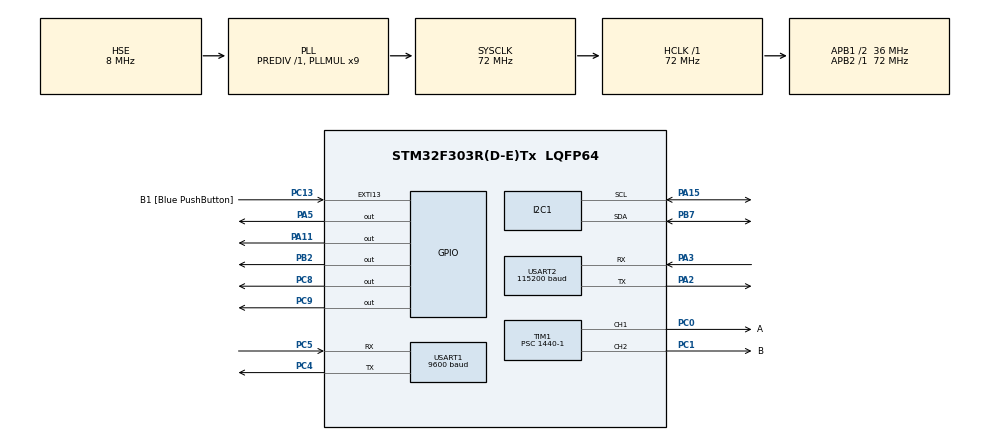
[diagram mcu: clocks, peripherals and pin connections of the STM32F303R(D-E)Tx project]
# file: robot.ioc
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I2C1.Timing=0x00201D2B
Mcu.Family=STM32F3
Mcu.Name=STM32F303R(D-E)Tx
Mcu.Package=LQFP64
NVIC.PriorityGroup=NVIC_PRIORITYGROUP_0
NVIC.TIM3_IRQn=true\:0\:0\:false\:false\:true\:true\:true\:true
NVIC.USART1_IRQn=true\:0\:0\:false\:false\:true\:true\:true\:true
PA11.Signal=GPIO_Output
PA13.GPIO_Label=TMS
PA13.Mode=Serial_Wire
PA13.Signal=SYS_JTMS-SWDIO
PA14.GPIO_Label=TCK
PA14.Mode=Serial_Wire
PA14.Signal=SYS_JTCK-SWCLK
PA15.Mode=I2C
PA15.Signal=I2C1_SCL
PA2.Mode=Asynchronous
PA2.Signal=USART2_TX
PA3.Mode=Asynchronous
PA3.Signal=USART2_RX
PA5.Signal=GPIO_Output
PB2.Signal=GPIO_Output
PB3.GPIO_Label=SWO
PB3.Signal=SYS_JTDO-TRACESWO
PB7.Mode=I2C
PB7.Signal=I2C1_SDA
PC0.GPIO_Label=A
PC0.Signal=S_TIM1_CH1
PC1.GPIO_Label=B
PC1.Signal=S_TIM1_CH2
PC13.GPIO_Label=B1 [Blue PushButton]
PC13.GPIO_ModeDefaultEXTI=GPIO_MODE_IT_FALLING
PC13.Signal=GPXTI13
PC14-OSC32_IN.Signal=RCC_OSC32_IN
PC15-OSC32_OUT.Signal=RCC_OSC32_OUT
PC4.Mode=Asynchronous
PC4.Signal=USART1_TX
PC5.Mode=Asynchronous
PC5.Signal=USART1_RX
PC8.Signal=GPIO_Output
PC9.Signal=GPIO_Output
PF0-OSC_IN.Mode=HSE-External-Oscillator
PF0-OSC_IN.Signal=RCC_OSC_IN
PF1-OSC_OUT.Mode=HSE-External-Oscillator
PF1-OSC_OUT.Signal=RCC_OSC_OUT
ProjectManager.HeapSize=0x200
ProjectManager.StackSize=0x400
ProjectManager.TargetToolchain=STM32CubeIDE
RCC.AHBFreq_Value=72000000
RCC.APB1CLKDivider=RCC_HCLK_DIV2
RCC.APB1Freq_Value=36000000
RCC.APB1TimFreq_Value=72000000
RCC.APB2Freq_Value=72000000
RCC.APB2TimFreq_Value=72000000
RCC.CortexFreq_Value=72000000
RCC.HCLKFreq_Value=72000000
RCC.HSE_VALUE=8000000
RCC.HSI_VALUE=8000000
RCC.LSE_VALUE=32768
RCC.PLLM=8
RCC.PLLMUL=RCC_PLL_MUL9
RCC.PLLN=336
RCC.PLLP=RCC_PLLP_DIV4
RCC.PLLQ=7
RCC.PLLSourceVirtual=RCC_PLLSOURCE_HSE
RCC.RCC_PLLsource_Clock_Source_FROM_HSE=RCC_HSE_PREDIV_DIV2
RCC.SYSCLKFreq_VALUE=72000000
RCC.SYSCLKSourceVirtual=RCC_SYSCLKSOURCE_PLLCLK
RCC.USBFreq_Value=72000000
SH.S_TIM1_CH1.0=TIM1_CH1,PWM Generation1 CH1
SH.S_TIM1_CH2.0=TIM1_CH2,PWM Generation2 CH2
TIM1.Channel-PWM\ Generation1\ CH1=TIM_CHANNEL_1
TIM1.Channel-PWM\ Generation2\ CH2=TIM_CHANNEL_2
TIM1.Period=1000-1
TIM1.Prescaler=1440-1
TIM3.Period=31
TIM3.Prescaler=71
USART1.BaudRate=9600
USART1.VirtualMode-Asynchronous=VM_ASYNC
USART2.BaudRate=115200
USART2.VirtualMode-Asynchronous=VM_ASYNC
VP_TIM1_VS_ClockSourceINT.Mode=Internal
VP_TIM3_VS_ClockSourceINT.Mode=Internal
board=NUCLEO-F303RE

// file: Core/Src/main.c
/* USER CODE BEGIN Header */
/**
 ******************************************************************************
 * @file           : main.c
 * @brief          : Main program body
 ******************************************************************************
 * @attention
 *
 * Copyright (c) 2026 STMicroelectronics.
 * All rights reserved.
 *
 * This software is licensed under terms that can be found in the LICENSE file
 * in the root directory of this software component.
 * If no LICENSE file comes with this software, it is provided AS-IS.
 *
 ******************************************************************************
 */
/* USER CODE END Header */
#include "main.h"

/* USER CODE BEGIN Includes */
#include <stdbool.h>
//#include <st7735.h>
//#include <fonts.h>
//#include <GFX_FUNCTIONS.h>
#include <string.h>
#include <stdio.h>
//#include "adpcm.h"
//#include "fatcat.h"
//#include "Image.h"
//#include "ringtone1.h"
/* USER CODE END Includes */

/* USER CODE BEGIN PD */
#define BUFFER_LEN  20
#define DEFAULT_STARTUP_VAL (0x80)
#define MSG_SIZE 1

// gyroscope & accelerometer defines
#define MPU6050_ADDR 0xD0
#define SMPLRT_DIV_REG 0x19
#define GYRO_CONFIG_REG 0x1B
#define ACCEL_CONFIG_REG 0x1C
#define ACCEL_XOUT_H_REG 0x3B
#define TEMP_OUT_H_REG 0x41
#define GYRO_XOUT_H_REG 0x43
#define PWR_MGMT_1_REG 0x6B
#define WHO_AM_I_REG 0x75

/* USER CODE END PD */

I2C_HandleTypeDef hi2c1;

TIM_HandleTypeDef htim1;
TIM_HandleTypeDef htim3;

UART_HandleTypeDef huart1;
UART_HandleTypeDef huart2;

/* USER CODE BEGIN PV */

int32_t pwm_val = 0;
bool direction = 0;
uint8_t ringtone1[54334];
uint8_t accel_update = 0;
uint8_t RX_BUFFER[BUFFER_LEN];
uint8_t TX_BUFFER[BUFFER_LEN];
uint8_t rx1, rx2;
volatile uint8_t text_request, rx_index = 0;

/* USER CODE END PV */

void SystemClock_Config(void);
static void MX_GPIO_Init(void);
static void MX_USART1_UART_Init(void);
static void MX_TIM1_Init(void);
static void MX_TIM3_Init(void);
static void MX_I2C1_Init(void);
static void MX_USART2_UART_Init(void);

/* USER CODE BEGIN 0 */
uint8_t c;
double Accel_X_RAW, Accel_Y_RAW, Accel_Z_RAW, Az, Ay, Ax;
volatile int text_timeout = 100; // timeout = text_timeout * hal delay
uint16_t txData;
uint8_t stat = 0;
int txIndex;
void HAL_TIM_PeriodElapsedCallback(TIM_HandleTypeDef *htim) {
	if (htim->Instance == TIM3) {
		txData = ((uint16_t) ringtone1[txIndex + 1] << 8) | ringtone1[txIndex];
		txIndex = txIndex + 2;
		if (txIndex > 54334)
			txIndex = 0;
		//HAL_I2S_Transmit(&hi2s3, &txData, 1, 10);
	}
}

void HAL_UART_RxCpltCallback(UART_HandleTypeDef *huart) {
	if (huart->Instance == USART1) {
		text_request = 1;
		HAL_UART_Receive_IT(&huart1, &rx1, MSG_SIZE);
	}
	// uart 2 for AT mode and debugging
	/*if (huart->Instance == USART2) {
	 HAL_UART_Transmit(&huart1, &rx2, MSG_SIZE, 100);
	 HAL_UART_Receive_IT(&huart2, &rx2, MSG_SIZE);
	 }*/
}

int isUp(uint8_t *msg) {
	if (strcmp((char*) msg, "U") == 0)
		return 1;
	return 0;
}
int isDown(uint8_t *msg) {
	if (strcmp((char*) msg, "D") == 0)
		return 1;
	return 0;
}
int isLeft(uint8_t *msg) {
	if (strcmp((char*) msg, "L") == 0)
		return 1;
	return 0;
}
int isRight(uint8_t *msg) {
	if (strcmp((char*) msg, "R") == 0)
		return 1;
	return 0;
}
int stop(uint8_t *msg) {
	if (strcmp((char*) msg, "S") == 0)
		return 1;
	return 0;
}

/* source : https://controllerstech.com/how-to-interface-mpu6050-gy-521-with-stm32/ */
void MPU6050_Init(void) {
	uint8_t check;
	uint8_t Data;

	HAL_StatusTypeDef status = HAL_I2C_Mem_Read(&hi2c1, MPU6050_ADDR, 0x75, 1,
			&check, 1, 1000); // read WHO_AM_I
	switch (status) {
	case HAL_OK:
		stat = '0';
		break;
	case HAL_ERROR:
		stat = '1';
		break;
	case HAL_BUSY:
		stat = '2';
		break;
	case HAL_TIMEOUT:
		stat = '3';
		break;
	default:
		break;
	}
	HAL_UART_Transmit(&huart2, &stat, 1, 100);
	if (check == 0x68) // 0x68 will be returned by the sensor if everything goes well
			{
		// power management register 0X6B we should write all 0's to wake the sensor up
		Data = 0;
		HAL_I2C_Mem_Write(&hi2c1, MPU6050_ADDR, 0x6B, 1, &Data, 1, 1000);
		// Set DATA RATE of 1KHz by writing SMPLRT_DIV register
		Data = 0x07;
		HAL_I2C_Mem_Write(&hi2c1, MPU6050_ADDR, 0x19, 1, &Data, 1, 1000);
		// Set accelerometer configuration in ACCEL_CONFIG Register
		Data = 0x00; // XA_ST=0,YA_ST=0,ZA_ST=0, FS_SEL=0 -> <strong>±</strong> 2g
		HAL_I2C_Mem_Write(&hi2c1, MPU6050_ADDR, ACCEL_CONFIG_REG, 1, &Data, 1,
				1000);
		// Set Gyroscopic configuration in GYRO_CONFIG Register
		Data = 0x00; // XG_ST=0,YG_ST=0,ZG_ST=0, FS_SEL=0 -> <strong>±</strong> 250 ̐/s
		HAL_I2C_Mem_Write(&hi2c1, MPU6050_ADDR, GYRO_CONFIG_REG, 1, &Data, 1,
				1000);
		// 2. Activer le filtre passe-bas numérique (CONFIG)
		// Écrit 0x05 dans le registre 0x1A pour éliminer les oscillations de bruit
		Data = 0x01;
		HAL_I2C_Mem_Write(&hi2c1, MPU6050_ADDR, 0x1A, 1, &Data, 1, 1000);
	}
}

void MPU6050_Read_Accel(void) {
	uint8_t Rec_Data[6] = { 0, 0, 0, 0, 0, 0 };

	// Read 6 BYTES of data starting from ACCEL_XOUT_H (0x3B) register
	HAL_I2C_Mem_Read(&hi2c1, MPU6050_ADDR, 0x3B, 1, Rec_Data, 6, 1000);
	Accel_X_RAW = (int16_t) (Rec_Data[0] << 8 | Rec_Data[1]);
	Accel_Y_RAW = (int16_t) (Rec_Data[2] << 8 | Rec_Data[3]);
	Accel_Z_RAW = (int16_t) (Rec_Data[4] << 8 | Rec_Data[5]);
	Ax = (float) Accel_X_RAW / 16384.0;
	Ay = (float) Accel_Y_RAW / 16384.0;
	Az = (float) Accel_Z_RAW / 16384.0;
}

/* USER CODE END 0 */

int main(void)
{

  /* MCU Configuration--------------------------------------------------------*/

  /* Reset of all peripherals, Initializes the Flash interface and the Systick. */
  HAL_Init();

  /* Configure the system clock */
  SystemClock_Config();

  /* Initialize all configured peripherals */
  MX_GPIO_Init();
  MX_USART1_UART_Init();
  MX_TIM1_Init();
  MX_TIM3_Init();
  MX_I2C1_Init();
  MX_USART2_UART_Init();
  /* USER CODE BEGIN 2 */
	MPU6050_Init();
	txIndex = 0;
//	HAL_TIM_Base_Start_IT(&htim3);

//	HAL_TIM_PWM_Start(&htim1, TIM_CHANNEL_1);
//	HAL_TIM_PWM_Start(&htim1, TIM_CHANNEL_2);

	HAL_UART_Receive_IT(&huart1, &rx1, MSG_SIZE);
	//ST7735_Init(0);
	//ST7735_DrawImage(0, 0, ST7735_WIDTH, ST7735_HEIGHT, image_data_Image);
	//HAL_Delay(3000);
	//fillScreen(BLACK);
  /* USER CODE END 2 */

  /* Infinite loop */
  /* USER CODE BEGIN WHILE */
	uint32_t last_sample = 0;
	while (1) {

		HAL_GPIO_TogglePin(GPIOA, GPIO_PIN_5);

		char res[25] = "";

		//HAL_UART_Transmit(&huart2, &stat, 1, 100);
		//HAL_UART_Transmit(&huart2, "\n", 1, 100);

		uint32_t now = HAL_GetTick();

		if (now - last_sample >= 10) {
			last_sample += 10;
			MPU6050_Read_Accel();
			sprintf(res, "%d,%d,%d\r\n", (int16_t)Accel_X_RAW, (int16_t)Accel_Y_RAW, (int16_t)Accel_Z_RAW);
			HAL_UART_Transmit(&huart2, (uint8_t*) res, strlen(res), 100);
		}

		//sprintf(buf, "\e[1;1H\e[2J");
		//HAL_UART_Transmit(&huart2, (uint8_t*) buf, 10, 100);

//		if (text_request == 1) {
//
//			/*if (text_timeout == 0) {
//				text_timeout = 100;
//				text_request = 0;
//			}
//			else {*/
//				ST7735_SetRotation(0);
//				ST7735_WriteString(0, 0, (char*) &rx1, Font_11x18, CYAN, BLACK);
//				text_request = 0;
//				//text_timeout -= 1;
//			//}
//			//lcd_buf[0] = rx1;
//			//lcd_buf[10] = '\0';
//			//ST7735_WriteString(0, 0, lcd_buf, Font_11x18, RED, BLACK);
//			// if not black ?... --> hal gettick
//			//fillScreen(BLACK);
//
//		//} else {
//			//fillScreen(BLACK);
//		}

		/*
		 // AT MODE
		 HAL_UART_Transmit(&huart1, cmd, sizeof(cmd)-1, 100);
		 // listen for response for 200 ms
		 uint32_t start = HAL_GetTick();
		 while (HAL_GetTick() - start < 200) {
		 if (HAL_UART_Receive(&huart1, &rx1, 1, 10) == HAL_OK) {
		 HAL_UART_Transmit(&huart2, &rx1, 1, 10); // send to PC
		 }
		 }
		 HAL_Delay(2000);
		 */

		// continuous servo
		// 100 = STOP
		/*
		 for (int i = 0; i < 1500; i+=100) {
		 __HAL_TIM_SET_COMPARE(&htim1, TIM_CHANNEL_1, i);
		 HAL_Delay(1000);
		 }
		 */

//		faire avancer les wheels
		/*
		 if (isUp(&rx1)) {
		 __HAL_TIM_SET_COMPARE(&htim1, TIM_CHANNEL_1, 90);
		 __HAL_TIM_SET_COMPARE(&htim1, TIM_CHANNEL_2, 60);
		 } else if (isDown(&rx1)) {
		 __HAL_TIM_SET_COMPARE(&htim1, TIM_CHANNEL_1, 60);
		 __HAL_TIM_SET_COMPARE(&htim1, TIM_CHANNEL_2, 90);
		 } else if (isLeft(&rx1)) {
		 __HAL_TIM_SET_COMPARE(&htim1, TIM_CHANNEL_1, 75);
		 __HAL_TIM_SET_COMPARE(&htim1, TIM_CHANNEL_2, 60);
		 } else if (isRight(&rx1)) {
		 __HAL_TIM_SET_COMPARE(&htim1, TIM_CHANNEL_1, 60);
		 __HAL_TIM_SET_COMPARE(&htim1, TIM_CHANNEL_2, 75);
		 } else {
		 __HAL_TIM_SET_COMPARE(&htim1, TIM_CHANNEL_1, 75);
		 __HAL_TIM_SET_COMPARE(&htim1, TIM_CHANNEL_2, 75);
		 }
		 */

    /* USER CODE END WHILE */

	}
}

void SystemClock_Config(void)
{
  RCC_OscInitTypeDef RCC_OscInitStruct = {0};
  RCC_ClkInitTypeDef RCC_ClkInitStruct = {0};
  RCC_PeriphCLKInitTypeDef PeriphClkInit = {0};

  /** Initializes the RCC Oscillators according to the specified parameters
  * in the RCC_OscInitTypeDef structure.
  */
  RCC_OscInitStruct.OscillatorType = RCC_OSCILLATORTYPE_HSI|RCC_OSCILLATORTYPE_HSE;
  RCC_OscInitStruct.HSEState = RCC_HSE_ON;
  RCC_OscInitStruct.HSIState = RCC_HSI_ON;
  RCC_OscInitStruct.HSICalibrationValue = RCC_HSICALIBRATION_DEFAULT;
  RCC_OscInitStruct.PLL.PLLState = RCC_PLL_ON;
  RCC_OscInitStruct.PLL.PLLSource = RCC_PLLSOURCE_HSE;
  RCC_OscInitStruct.PLL.PLLMUL = RCC_PLL_MUL9;
  RCC_OscInitStruct.PLL.PREDIV = RCC_PREDIV_DIV1;
  if (HAL_RCC_OscConfig(&RCC_OscInitStruct) != HAL_OK)
  {
    Error_Handler();
  }

  /** Initializes the CPU, AHB and APB buses clocks
  */
  RCC_ClkInitStruct.ClockType = RCC_CLOCKTYPE_HCLK|RCC_CLOCKTYPE_SYSCLK
                              |RCC_CLOCKTYPE_PCLK1|RCC_CLOCKTYPE_PCLK2;
  RCC_ClkInitStruct.SYSCLKSource = RCC_SYSCLKSOURCE_PLLCLK;
  RCC_ClkInitStruct.AHBCLKDivider = RCC_SYSCLK_DIV1;
  RCC_ClkInitStruct.APB1CLKDivider = RCC_HCLK_DIV2;
  RCC_ClkInitStruct.APB2CLKDivider = RCC_HCLK_DIV1;

  if (HAL_RCC_ClockConfig(&RCC_ClkInitStruct, FLASH_LATENCY_2) != HAL_OK)
  {
    Error_Handler();
  }
  PeriphClkInit.PeriphClockSelection = RCC_PERIPHCLK_USART1|RCC_PERIPHCLK_USART2
                              |RCC_PERIPHCLK_I2C1|RCC_PERIPHCLK_TIM1
                              |RCC_PERIPHCLK_TIM34;
  PeriphClkInit.Usart1ClockSelection = RCC_USART1CLKSOURCE_PCLK2;
  PeriphClkInit.Usart2ClockSelection = RCC_USART2CLKSOURCE_PCLK1;
  PeriphClkInit.I2c1ClockSelection = RCC_I2C1CLKSOURCE_HSI;
  PeriphClkInit.Tim1ClockSelection = RCC_TIM1CLK_HCLK;
  PeriphClkInit.Tim34ClockSelection = RCC_TIM34CLK_HCLK;
  if (HAL_RCCEx_PeriphCLKConfig(&PeriphClkInit) != HAL_OK)
  {
    Error_Handler();
  }
}

static void MX_I2C1_Init(void)
{

  hi2c1.Instance = I2C1;
  hi2c1.Init.Timing = 0x00201D2B;
  hi2c1.Init.OwnAddress1 = 0;
  hi2c1.Init.AddressingMode = I2C_ADDRESSINGMODE_7BIT;
  hi2c1.Init.DualAddressMode = I2C_DUALADDRESS_DISABLE;
  hi2c1.Init.OwnAddress2 = 0;
  hi2c1.Init.OwnAddress2Masks = I2C_OA2_NOMASK;
  hi2c1.Init.GeneralCallMode = I2C_GENERALCALL_DISABLE;
  hi2c1.Init.NoStretchMode = I2C_NOSTRETCH_DISABLE;
  if (HAL_I2C_Init(&hi2c1) != HAL_OK)
  {
    Error_Handler();
  }

  /** Configure Analogue filter
  */
  if (HAL_I2CEx_ConfigAnalogFilter(&hi2c1, I2C_ANALOGFILTER_ENABLE) != HAL_OK)
  {
    Error_Handler();
  }

  /** Configure Digital filter
  */
  if (HAL_I2CEx_ConfigDigitalFilter(&hi2c1, 0) != HAL_OK)
  {
    Error_Handler();
  }

}

static void MX_TIM1_Init(void)
{

  TIM_ClockConfigTypeDef sClockSourceConfig = {0};
  TIM_MasterConfigTypeDef sMasterConfig = {0};
  TIM_OC_InitTypeDef sConfigOC = {0};
  TIM_BreakDeadTimeConfigTypeDef sBreakDeadTimeConfig = {0};

  htim1.Instance = TIM1;
  htim1.Init.Prescaler = 1440-1;
  htim1.Init.CounterMode = TIM_COUNTERMODE_UP;
  htim1.Init.Period = 1000-1;
  htim1.Init.ClockDivision = TIM_CLOCKDIVISION_DIV1;
  htim1.Init.RepetitionCounter = 0;
  htim1.Init.AutoReloadPreload = TIM_AUTORELOAD_PRELOAD_DISABLE;
  if (HAL_TIM_Base_Init(&htim1) != HAL_OK)
  {
    Error_Handler();
  }
  sClockSourceConfig.ClockSource = TIM_CLOCKSOURCE_INTERNAL;
  if (HAL_TIM_ConfigClockSource(&htim1, &sClockSourceConfig) != HAL_OK)
  {
    Error_Handler();
  }
  if (HAL_TIM_PWM_Init(&htim1) != HAL_OK)
  {
    Error_Handler();
  }
  sMasterConfig.MasterOutputTrigger = TIM_TRGO_RESET;
  sMasterConfig.MasterOutputTrigger2 = TIM_TRGO2_RESET;
  sMasterConfig.MasterSlaveMode = TIM_MASTERSLAVEMODE_DISABLE;
  if (HAL_TIMEx_MasterConfigSynchronization(&htim1, &sMasterConfig) != HAL_OK)
  {
    Error_Handler();
  }
  sConfigOC.OCMode = TIM_OCMODE_PWM1;
  sConfigOC.Pulse = 0;
  sConfigOC.OCPolarity = TIM_OCPOLARITY_HIGH;
  sConfigOC.OCNPolarity = TIM_OCNPOLARITY_HIGH;
  sConfigOC.OCFastMode = TIM_OCFAST_DISABLE;
  sConfigOC.OCIdleState = TIM_OCIDLESTATE_RESET;
  sConfigOC.OCNIdleState = TIM_OCNIDLESTATE_RESET;
  if (HAL_TIM_PWM_ConfigChannel(&htim1, &sConfigOC, TIM_CHANNEL_1) != HAL_OK)
  {
    Error_Handler();
  }
  if (HAL_TIM_PWM_ConfigChannel(&htim1, &sConfigOC, TIM_CHANNEL_2) != HAL_OK)
  {
    Error_Handler();
  }
  sBreakDeadTimeConfig.OffStateRunMode = TIM_OSSR_DISABLE;
  sBreakDeadTimeConfig.OffStateIDLEMode = TIM_OSSI_DISABLE;
  sBreakDeadTimeConfig.LockLevel = TIM_LOCKLEVEL_OFF;
  sBreakDeadTimeConfig.DeadTime = 0;
  sBreakDeadTimeConfig.BreakState = TIM_BREAK_DISABLE;
  sBreakDeadTimeConfig.BreakPolarity = TIM_BREAKPOLARITY_HIGH;
  sBreakDeadTimeConfig.BreakFilter = 0;
  sBreakDeadTimeConfig.Break2State = TIM_BREAK2_DISABLE;
  sBreakDeadTimeConfig.Break2Polarity = TIM_BREAK2POLARITY_HIGH;
  sBreakDeadTimeConfig.Break2Filter = 0;
  sBreakDeadTimeConfig.AutomaticOutput = TIM_AUTOMATICOUTPUT_DISABLE;
  if (HAL_TIMEx_ConfigBreakDeadTime(&htim1, &sBreakDeadTimeConfig) != HAL_OK)
  {
    Error_Handler();
  }
  HAL_TIM_MspPostInit(&htim1);

}

static void MX_TIM3_Init(void)
{

  TIM_ClockConfigTypeDef sClockSourceConfig = {0};
  TIM_MasterConfigTypeDef sMasterConfig = {0};

  htim3.Instance = TIM3;
  htim3.Init.Prescaler = 71;
  htim3.Init.CounterMode = TIM_COUNTERMODE_UP;
  htim3.Init.Period = 31;
  htim3.Init.ClockDivision = TIM_CLOCKDIVISION_DIV1;
  htim3.Init.AutoReloadPreload = TIM_AUTORELOAD_PRELOAD_DISABLE;
  if (HAL_TIM_Base_Init(&htim3) != HAL_OK)
  {
    Error_Handler();
  }
  sClockSourceConfig.ClockSource = TIM_CLOCKSOURCE_INTERNAL;
  if (HAL_TIM_ConfigClockSource(&htim3, &sClockSourceConfig) != HAL_OK)
  {
    Error_Handler();
  }
  sMasterConfig.MasterOutputTrigger = TIM_TRGO_RESET;
  sMasterConfig.MasterSlaveMode = TIM_MASTERSLAVEMODE_DISABLE;
  if (HAL_TIMEx_MasterConfigSynchronization(&htim3, &sMasterConfig) != HAL_OK)
  {
    Error_Handler();
  }

}

static void MX_USART1_UART_Init(void)
{

  huart1.Instance = USART1;
  huart1.Init.BaudRate = 9600;
  huart1.Init.WordLength = UART_WORDLENGTH_8B;
  huart1.Init.StopBits = UART_STOPBITS_1;
  huart1.Init.Parity = UART_PARITY_NONE;
  huart1.Init.Mode = UART_MODE_TX_RX;
  huart1.Init.HwFlowCtl = UART_HWCONTROL_NONE;
  huart1.Init.OverSampling = UART_OVERSAMPLING_16;
  huart1.Init.OneBitSampling = UART_ONE_BIT_SAMPLE_DISABLE;
  huart1.AdvancedInit.AdvFeatureInit = UART_ADVFEATURE_NO_INIT;
  if (HAL_UART_Init(&huart1) != HAL_OK)
  {
    Error_Handler();
  }

}

static void MX_USART2_UART_Init(void)
{

  huart2.Instance = USART2;
  huart2.Init.BaudRate = 115200;
  huart2.Init.WordLength = UART_WORDLENGTH_8B;
  huart2.Init.StopBits = UART_STOPBITS_1;
  huart2.Init.Parity = UART_PARITY_NONE;
  huart2.Init.Mode = UART_MODE_TX_RX;
  huart2.Init.HwFlowCtl = UART_HWCONTROL_NONE;
  huart2.Init.OverSampling = UART_OVERSAMPLING_16;
  huart2.Init.OneBitSampling = UART_ONE_BIT_SAMPLE_DISABLE;
  huart2.AdvancedInit.AdvFeatureInit = UART_ADVFEATURE_NO_INIT;
  if (HAL_UART_Init(&huart2) != HAL_OK)
  {
    Error_Handler();
  }

}

static void MX_GPIO_Init(void)
{
  GPIO_InitTypeDef GPIO_InitStruct = {0};

  /* GPIO Ports Clock Enable */
  __HAL_RCC_GPIOC_CLK_ENABLE();
  __HAL_RCC_GPIOF_CLK_ENABLE();
  __HAL_RCC_GPIOA_CLK_ENABLE();
  __HAL_RCC_GPIOB_CLK_ENABLE();

  /*Configure GPIO pin Output Level */
  HAL_GPIO_WritePin(GPIOA, GPIO_PIN_5|GPIO_PIN_11, GPIO_PIN_RESET);

  /*Configure GPIO pin Output Level */
  HAL_GPIO_WritePin(GPIOB, GPIO_PIN_2, GPIO_PIN_RESET);

  /*Configure GPIO pin Output Level */
  HAL_GPIO_WritePin(GPIOC, GPIO_PIN_8|GPIO_PIN_9, GPIO_PIN_RESET);

  /*Configure GPIO pin : B1_Pin */
  GPIO_InitStruct.Pin = B1_Pin;
  GPIO_InitStruct.Mode = GPIO_MODE_IT_FALLING;
  GPIO_InitStruct.Pull = GPIO_NOPULL;
  HAL_GPIO_Init(B1_GPIO_Port, &GPIO_InitStruct);

  /*Configure GPIO pins : PA5 PA11 */
  GPIO_InitStruct.Pin = GPIO_PIN_5|GPIO_PIN_11;
  GPIO_InitStruct.Mode = GPIO_MODE_OUTPUT_PP;
  GPIO_InitStruct.Pull = GPIO_NOPULL;
  GPIO_InitStruct.Speed = GPIO_SPEED_FREQ_LOW;
  HAL_GPIO_Init(GPIOA, &GPIO_InitStruct);

  /*Configure GPIO pin : PB2 */
  GPIO_InitStruct.Pin = GPIO_PIN_2;
  GPIO_InitStruct.Mode = GPIO_MODE_OUTPUT_PP;
  GPIO_InitStruct.Pull = GPIO_NOPULL;
  GPIO_InitStruct.Speed = GPIO_SPEED_FREQ_LOW;
  HAL_GPIO_Init(GPIOB, &GPIO_InitStruct);

  /*Configure GPIO pins : PC8 PC9 */
  GPIO_InitStruct.Pin = GPIO_PIN_8|GPIO_PIN_9;
  GPIO_InitStruct.Mode = GPIO_MODE_OUTPUT_PP;
  GPIO_InitStruct.Pull = GPIO_NOPULL;
  GPIO_InitStruct.Speed = GPIO_SPEED_FREQ_LOW;
  HAL_GPIO_Init(GPIOC, &GPIO_InitStruct);

}

void Error_Handler(void)
{
	__disable_irq();
	while (1) {
	}
}
